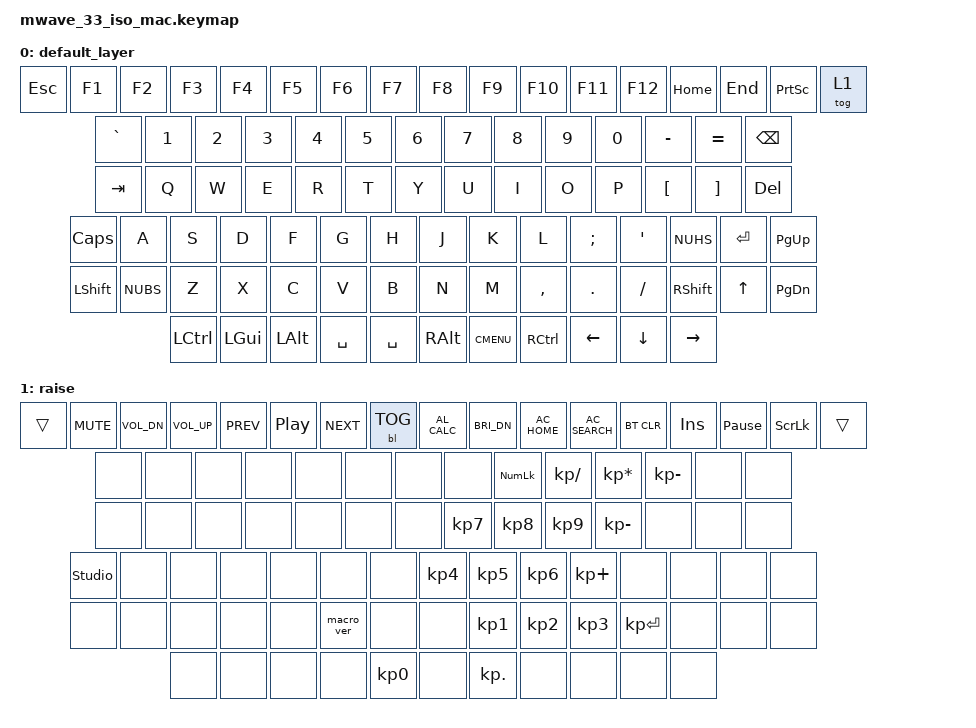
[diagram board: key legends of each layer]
#include <behaviors.dtsi>
#include <dt-bindings/zmk/keys.h>
#include <dt-bindings/zmk/bt.h>
#include <dt-bindings/zmk/outputs.h>
#include <dt-bindings/zmk/backlight.h>
#include <dt-bindings/advertising_mode.h>

#include <behaviors/advertising_mode.dtsi>

#include "studio-macros.dtsi"

/ {
  #include "mwave_prim.dtsi"

  chosen {
    zmk,physical_layout = &layout_1;
  };

  keymap {
    compatible = "zmk,keymap";
    default_layer {
        // -------------------------------------------------------------------------------------------------------
        // | ESC | F1  | F2  | F3  | F4  | F5  | F6  | | F7  | F8  | F9  | F10 | F11 | F12 |HOME| END |PSCN|  1  |
        // |GRAVE|  1  |  2  |  3  |  4  |  5  |  6  | |   7   |  8  |  9  |  0  |  -  |  =  |    BKSP     | DEL |
        // | TAB    |  Q  |  W  |  E  |  R  |   T    | |   Y  |  U  |  I  |  O  |  P  |  [  |  ]  |   \    |     |
        // | CAPS     |  A  |  S  |  D  |  F  |  G   | |  H    |  J  |  K  |  L  |  ;  |  '  |  HASH |ENTER| PGUP|
        // |SHIFT| BSLH|  Z  |  X  |  C  |  V  |  B  | |    N    |  M  |  ,  |  .  |  /  |   SHIFT   | UP  | PGDN|
        // |  CTL  |  WIN  |  ALT  |      SPACE      | |      SPACE        | ALT | MENU |RCTRL| LEFT| DOWN |RIGHT|
        // -------------------------------------------------------------------------------------------------------
      bindings = <
        &kp ESC   &kp F1 &kp F2 &kp F3 &kp F4 &kp F5 &kp F6 &kp F7 &kp F8 &kp F9 &kp F10 &kp F11 &kp F12 &kp HOME &kp END &kp PSCRN &tog 1
        &kp GRAVE &kp N1 &kp N2 &kp N3 &kp N4 &kp N5 &kp N6    &kp N7   &kp N8 &kp N9 &kp N0 &kp MINUS &kp EQUAL      &kp BSPC
        &kp TAB     &kp Q  &kp W  &kp E  &kp R  &kp T             &kp Y  &kp U  &kp I    &kp O  &kp P  &kp LBKT &kp RBKT  &kp DEL
        &kp CLCK      &kp A  &kp S  &kp D  &kp F    &kp G          &kp H  &kp J  &kp K    &kp L  &kp SEMI &kp SQT &kp NUHS &kp RET    &kp PG_UP
        &kp LSHFT &kp NUBS  &kp Z  &kp X  &kp C  &kp V  &kp B         &kp N    &kp M  &kp COMMA &kp DOT &kp FSLH   &kp RSHFT   &kp UP &kp PG_DN
        &kp LCTRL &kp LGUI &kp LALT            &kp SPACE         &kp SPACE     &kp RALT  &kp K_CMENU &kp RCTRL &kp LEFT &kp DOWN &kp RIGHT
      >;
    };
    raise {

      bindings = <
        &trans &kp C_MUTE &kp C_VOL_DN &kp C_VOL_UP &kp C_PREV &kp C_PP &kp C_NEXT &bl BL_TOG  &kp C_AL_CALC &kp C_BRI_DN  &kp C_AC_HOME &kp C_AC_SEARCH &bt BT_CLR &kp INS &kp PAUSE_BREAK &kp SLCK &trans
        &none &none &none &none &none &none &none &none &kp KP_NLCK   &kp KP_DIVIDE &kp KP_MULTIPLY &kp KP_MINUS &none &none
        &none   &none  &none  &none  &none  &none  &none  &kp KP_N7  &kp KP_N8   &kp KP_N9 &kp KP_MINUS  &none &none  &none
        &studio_unlock   &none  &none  &none  &none  &none  &none  &kp KP_N4  &kp KP_N5    &kp KP_N6 &kp KP_PLUS &none &none &none &none
        &none &none &none  &none  &none  &macro_ver  &none  &none  &kp KP_N1  &kp KP_N2 &kp KP_N3 &kp KP_ENTER   &none   &none &none
        &none &none &none            &none                &kp KP_N0    &none  &kp KP_DOT &none &none &none &none
      >;
    };
    extra1 {
      status = "reserved";
    };
    extra2 {
      status = "reserved";
    };
    extra3 {
      status = "reserved";
    };
    extra4 {
      status = "reserved";
    };
    extra5 {
      status = "reserved";
    };
    extra6 {
      status = "reserved";
    };
  };
};
